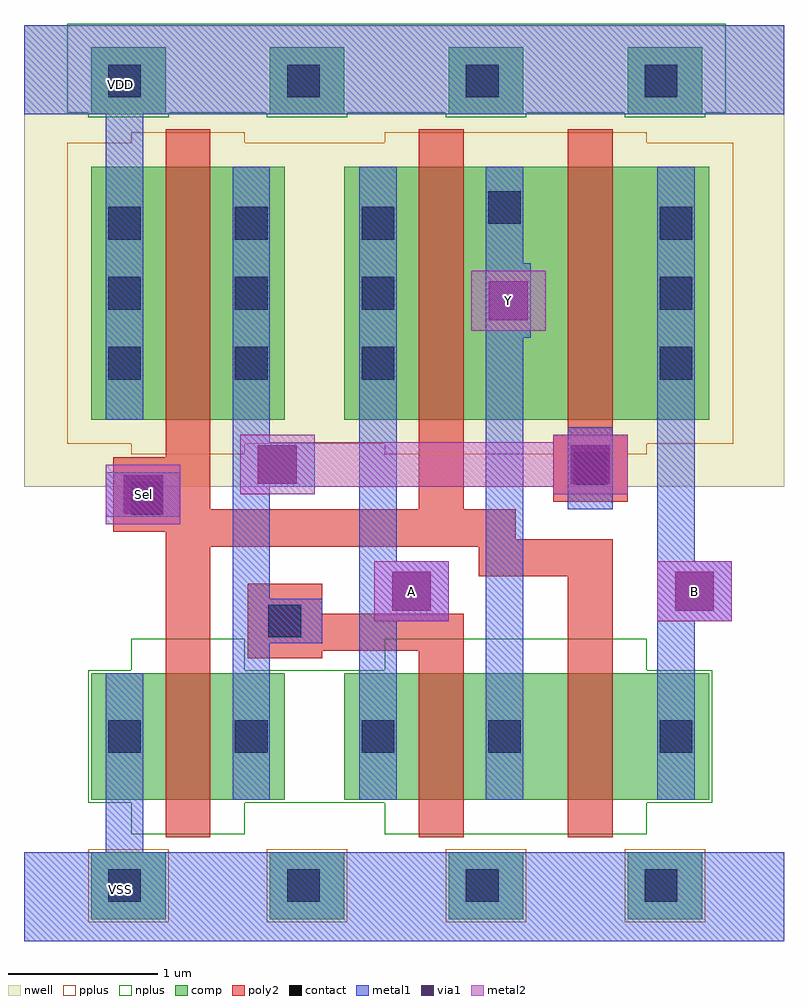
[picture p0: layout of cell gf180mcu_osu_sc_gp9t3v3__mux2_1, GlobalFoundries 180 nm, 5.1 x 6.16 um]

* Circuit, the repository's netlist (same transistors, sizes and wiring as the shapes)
* Copyright 2022 Google LLC
*
* Licensed under the Apache License, Version 2.0 (the "License");
* you may not use this file except in compliance with the License.
* You may obtain a copy of the License at
*
*      http://www.apache.org/licenses/LICENSE-2.0
*
* Unless required by applicable law or agreed to in writing, software
* distributed under the License is distributed on an "AS IS" BASIS,
* WITHOUT WARRANTIES OR CONDITIONS OF ANY KIND, either express or implied.
* See the License for the specific language governing permissions and
* limitations under the License.

* NGSPICE file created from gf180mcu_osu_sc_gp9t3v3__mux2_1.ext - technology: gf180mcuC

.subckt gf180mcu_osu_sc_gp9t3v3__mux2_1 A B Sel Y VDD VSS
X0 Y Sel A VDD pfet_03p3 w=1.7u l=0.3u
X1 a_25_21# Sel VDD VDD pfet_03p3 w=1.7u l=0.3u
X2 Y a_25_21# A VSS nfet_03p3 w=0.85u l=0.3u
X3 a_25_21# Sel VSS VSS nfet_03p3 w=0.85u l=0.3u
X4 B a_25_21# Y VDD pfet_03p3 w=1.7u l=0.3u
X5 B Sel Y VSS nfet_03p3 w=0.85u l=0.3u
.ends

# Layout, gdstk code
import gdstk
lib = gdstk.Library(unit=1e-6, precision=1e-09)
def R(c, l, rs):  # rectangles x0, y0, x1, y1
    for r in rs: c.add(gdstk.rectangle(r[:2], r[2:], *l))
def A(c, l, x, y, w, h, nx, ny, dx, dy):  # array of equal rectangles
    R(c, l, [(x+i*dx, y+j*dy, x+i*dx+w, y+j*dy+h) for i in range(nx) for j in range(ny)])
nwell = (21, 0)
comp = (22, 0)
poly2 = (30, 0)
pplus = (31, 0)
nplus = (32, 0)
contact = (33, 0)
metal1 = (34, 0)
via1 = (35, 0)
metal2 = (36, 0)

gf180mcu_osu_sc_gp9t3v3_ = lib.new_cell('gf180mcu_osu_sc_gp9t3v3__mux2_1')
R(gf180mcu_osu_sc_gp9t3v3_, nwell, [(0,3.05,5.1,6.15)])
A(gf180mcu_osu_sc_gp9t3v3_, comp, 0.45, 0.15, 0.5, 0.45, 4, 2, 1.2, 5.4)
R(gf180mcu_osu_sc_gp9t3v3_, comp, [(0.45,0.95,1.75,1.8), (2.15,0.95,4.6,1.8), (0.45,3.5,1.75,5.2), (2.15,3.5,4.6,5.2)])
R(gf180mcu_osu_sc_gp9t3v3_, poly2, [(0.95,0.7,1.25,2.65), (2.65,0.7,2.95,1.95), (3.65,0.7,3.95,2.45), (1.5,1.9,2,1.95), (1.5,1.95,2.95,2.2), (1.5,2.2,2,2.4), (3.05,2.45,3.95,2.65), (0.95,2.65,3.95,2.7), (0.95,2.7,3.3,2.75), (0.6,2.75,3.3,2.9), (0.6,2.9,1.25,3.25), (2.65,2.9,2.95,5.45), (3.55,2.95,4.05,3.4), (0.95,3.25,1.25,5.45), (3.65,3.4,3.95,5.45)])
A(gf180mcu_osu_sc_gp9t3v3_, pplus, 0.43, 0.13, 0.54, 0.49, 4, 1, 1.2, 0)
R(gf180mcu_osu_sc_gp9t3v3_, pplus, [(0.72,3.27,1.48,3.34), (2.42,3.27,4.18,3.34), (0.29,3.34,4.76,5.36), (0.72,5.36,1.48,5.43), (2.42,5.36,4.18,5.43)])
A(gf180mcu_osu_sc_gp9t3v3_, nplus, 0.43, 5.53, 0.54, 0.03, 4, 1, 1.2, 0)
R(gf180mcu_osu_sc_gp9t3v3_, nplus, [(0.72,0.72,1.48,0.93), (2.42,0.72,4.18,0.93), (0.43,0.93,4.62,1.82), (0.72,1.82,1.48,2.03), (2.42,1.82,4.18,2.03), (0.29,5.56,4.71,6.16)])
A(gf180mcu_osu_sc_gp9t3v3_, contact, 0.565, 0.265, 0.22, 0.22, 4, 2, 1.2, 5.4)
A(gf180mcu_osu_sc_gp9t3v3_, contact, 0.565, 1.265, 0.22, 0.22, 4, 1, 0.85, 0)
A(gf180mcu_osu_sc_gp9t3v3_, contact, 0.565, 3.77, 0.22, 0.22, 3, 3, 0.85, 0.47)
A(gf180mcu_osu_sc_gp9t3v3_, contact, 4.265, 3.77, 0.22, 0.22, 1, 3, 0, 0.47)
R(gf180mcu_osu_sc_gp9t3v3_, contact, [(4.265,1.265,4.485,1.485), (1.64,2.04,1.86,2.26), (0.715,2.865,0.935,3.085), (3.69,3.065,3.91,3.285), (3.115,4.815,3.335,5.035)])
R(gf180mcu_osu_sc_gp9t3v3_, metal1, [(0,0,5.1,0.6), (0.55,0.6,0.8,1.8), (1.4,0.95,1.65,2), (2.25,0.95,2.5,2.15), (3.1,0.95,3.35,4.05), (4.25,0.95,4.5,2.15), (1.4,2,2,2.3), (2.25,2.15,2.85,2.55), (4.25,2.15,4.75,2.55), (1.4,2.3,1.65,3.05), (2.25,2.55,2.5,5.2), (4.25,2.55,4.5,5.2), (0.55,2.85,1.05,3.15), (3.65,2.9,3.95,3.45), (1.4,3.05,1.95,3.35), (1.4,3.35,1.65,5.2), (0.55,3.5,0.8,5.55), (3.1,4.05,3.4,4.55), (3.1,4.55,3.35,5.2), (0,5.55,5.1,6.15)])
R(gf180mcu_osu_sc_gp9t3v3_, via1, [(2.47,2.22,2.73,2.48), (4.37,2.22,4.63,2.48), (0.67,2.87,0.93,3.13), (1.57,3.07,1.83,3.33), (3.67,3.07,3.93,3.33), (3.12,4.17,3.38,4.43)])
R(gf180mcu_osu_sc_gp9t3v3_, metal2, [(2.35,2.15,2.85,2.55), (4.25,2.15,4.75,2.55), (0.55,2.8,1.05,3.2), (1.45,3,1.95,3.05), (3.55,3,4.05,3.05), (1.45,3.05,4.05,3.35), (1.45,3.35,1.95,3.4), (3.55,3.35,4.05,3.4), (3,4.1,3.5,4.5)])
gf180mcu_osu_sc_gp9t3v3_.add(gdstk.Label('VDD', (0.65,5.75), layer=34, texttype=0))
gf180mcu_osu_sc_gp9t3v3_.add(gdstk.Label('VSS', (0.65,0.35), layer=34, texttype=0))
gf180mcu_osu_sc_gp9t3v3_.add(gdstk.Label('Y', (3.25,4.3), layer=36, texttype=10))
gf180mcu_osu_sc_gp9t3v3_.add(gdstk.Label('Sel', (0.8,3), layer=36, texttype=10))
gf180mcu_osu_sc_gp9t3v3_.add(gdstk.Label('A', (2.6,2.35), layer=36, texttype=10))
gf180mcu_osu_sc_gp9t3v3_.add(gdstk.Label('B', (4.5,2.35), layer=36, texttype=10))

lib.write_gds('gf180mcu_osu_sc_gp9t3v3__mux2_1.gds')
